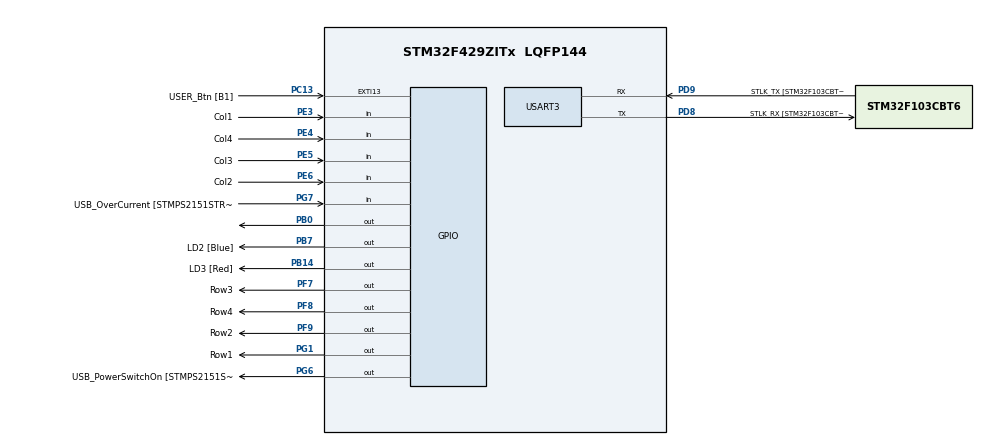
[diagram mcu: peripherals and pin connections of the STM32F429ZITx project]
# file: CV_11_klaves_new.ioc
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Mcu.Family=STM32F4
Mcu.Name=STM32F429ZITx
Mcu.Package=LQFP144
NVIC.PriorityGroup=NVIC_PRIORITYGROUP_4
NVIC.TIM3_IRQn=true\:0\:0\:false\:false\:true\:true\:true\:true
PA1.GPIO_Label=RMII_REF_CLK [LAN8742A-CZ-TR_REFCLK0]
PA1.Signal=ETH_REF_CLK
PA10.GPIO_Label=USB_ID
PA10.Signal=USB_OTG_FS_ID
PA11.GPIO_Label=USB_DM
PA11.Signal=USB_OTG_FS_DM
PA12.GPIO_Label=USB_DP
PA12.Signal=USB_OTG_FS_DP
PA13.GPIO_Label=TMS
PA13.Mode=Serial_Wire
PA13.Signal=SYS_JTMS-SWDIO
PA14.GPIO_Label=TCK
PA14.Mode=Serial_Wire
PA14.Signal=SYS_JTCK-SWCLK
PA2.GPIO_Label=RMII_MDIO [LAN8742A-CZ-TR_MDIO]
PA2.Signal=ETH_MDIO
PA7.GPIO_Label=RMII_CRS_DV [LAN8742A-CZ-TR_CRS_DV]
PA7.Signal=ETH_CRS_DV
PA8.GPIO_Label=USB_SOF [TP1]
PA8.Signal=USB_OTG_FS_SOF
PA9.GPIO_Label=USB_VBUS
PA9.Signal=USB_OTG_FS_VBUS
PB0.Signal=GPIO_Output
PB13.GPIO_Label=RMII_TXD1 [LAN8742A-CZ-TR_TXD1]
PB13.Signal=ETH_TXD1
PB14.GPIO_Label=LD3 [Red]
PB14.Signal=GPIO_Output
PB7.GPIO_Label=LD2 [Blue]
PB7.Signal=GPIO_Output
PC1.GPIO_Label=RMII_MDC [LAN8742A-CZ-TR_MDC]
PC1.Signal=ETH_MDC
PC13.GPIO_Label=USER_Btn [B1]
PC13.Signal=GPXTI13
PC14/OSC32_IN.Mode=LSE-External-Oscillator
PC14/OSC32_IN.Signal=RCC_OSC32_IN
PC15/OSC32_OUT.Mode=LSE-External-Oscillator
PC15/OSC32_OUT.Signal=RCC_OSC32_OUT
PC4.GPIO_Label=RMII_RXD0 [LAN8742A-CZ-TR_RXD0]
PC4.Signal=ETH_RXD0
PC5.GPIO_Label=RMII_RXD1 [LAN8742A-CZ-TR_RXD1]
PC5.Signal=ETH_RXD1
PD8.GPIO_Label=STLK_RX [STM32F103CBT6_PA3]
PD8.Mode=Asynchronous
PD8.Signal=USART3_TX
PD9.GPIO_Label=STLK_TX [STM32F103CBT6_PA2]
PD9.Mode=Asynchronous
PD9.Signal=USART3_RX
PE3.GPIO_Label=Col1
PE3.GPIO_PuPd=GPIO_PULLUP
PE3.Signal=GPIO_Input
PE4.GPIO_Label=Col4
PE4.GPIO_PuPd=GPIO_PULLUP
PE4.Signal=GPIO_Input
PE5.GPIO_Label=Col3
PE5.GPIO_PuPd=GPIO_PULLUP
PE5.Signal=GPIO_Input
PE6.GPIO_Label=Col2
PE6.GPIO_PuPd=GPIO_PULLUP
PE6.Signal=GPIO_Input
PF7.GPIO_Label=Row3
PF7.GPIO_ModeDefaultOutputPP=GPIO_MODE_OUTPUT_OD
PF7.GPIO_PuPd=GPIO_NOPULL
PF7.Signal=GPIO_Output
PF8.GPIO_Label=Row4
PF8.GPIO_ModeDefaultOutputPP=GPIO_MODE_OUTPUT_OD
PF8.GPIO_PuPd=GPIO_NOPULL
PF8.Signal=GPIO_Output
PF9.GPIO_Label=Row2
PF9.GPIO_ModeDefaultOutputPP=GPIO_MODE_OUTPUT_OD
PF9.GPIO_PuPd=GPIO_NOPULL
PF9.Signal=GPIO_Output
PG1.GPIO_Label=Row1
PG1.GPIO_ModeDefaultOutputPP=GPIO_MODE_OUTPUT_OD
PG1.GPIO_PuPd=GPIO_NOPULL
PG1.Signal=GPIO_Output
PG11.GPIO_Label=RMII_TX_EN [LAN8742A-CZ-TR_TXEN]
PG11.Signal=ETH_TX_EN
PG13.GPIO_Label=RMII_TXD0 [LAN8742A-CZ-TR_TXD0]
PG13.Signal=ETH_TXD0
PG6.GPIO_Label=USB_PowerSwitchOn [STMPS2151STR_EN]
PG6.Signal=GPIO_Output
PG7.GPIO_Label=USB_OverCurrent [STMPS2151STR_FAULT]
PG7.Signal=GPIO_Input
PH0/OSC_IN.GPIO_Label=MCO [STM32F103CBT6_PA8]
PH0/OSC_IN.Mode=HSE-External-Clock-Source
PH0/OSC_IN.Signal=RCC_OSC_IN
PH1/OSC_OUT.Mode=HSE-External-Clock-Source
PH1/OSC_OUT.Signal=RCC_OSC_OUT
ProjectManager.HeapSize=0x200
ProjectManager.StackSize=0x400
ProjectManager.TargetToolchain=STM32CubeIDE
RCC.48MHZClocksFreq_Value=48000000
RCC.AHBFreq_Value=168000000
RCC.APB1CLKDivider=RCC_HCLK_DIV4
RCC.APB1Freq_Value=42000000
RCC.APB1TimFreq_Value=84000000
RCC.APB2CLKDivider=RCC_HCLK_DIV2
RCC.APB2Freq_Value=84000000
RCC.APB2TimCLKDivider=2
RCC.APB2TimFreq_Value=168000000
RCC.CortexFreq_Value=168000000
RCC.HCLKFreq_Value=168000000
RCC.HSE_VALUE=8000000
RCC.HSI_VALUE=16000000
RCC.PLLM=4
RCC.PLLMUL=RCC_PLL_MUL9
RCC.PLLN=168
RCC.PLLQ=7
RCC.PLLSourceVirtual=RCC_PLLSOURCE_HSE
RCC.PRESCALERUSB=RCC_USBCLKSOURCE_PLL_DIV1_5
RCC.SYSCLKFreq_VALUE=168000000
RCC.SYSCLKSource=RCC_SYSCLKSOURCE_PLLCLK
RCC.SYSCLKSourceVirtual=RCC_SYSCLKSOURCE_PLLCLK
RCC.USBFreq_Value=48000000
RCC.VCOOutputFreq_Value=336000000
TIM3.Period=99
TIM3.Prescaler=8399
USART3.VirtualMode=VM_ASYNC
VP_TIM3_VS_ClockSourceINT.Mode=Internal
board=NUCLEO-F429ZI

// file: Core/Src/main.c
/* USER CODE BEGIN Header */
/**
 ******************************************************************************
 * @file           : main.c
 * @brief          : Main program body
 ******************************************************************************
 * @attention
 *
 * Copyright (c) 2023 STMicroelectronics.
 * All rights reserved.
 *
 * This software is licensed under terms that can be found in the LICENSE file
 * in the root directory of this software component.
 * If no LICENSE file comes with this software, it is provided AS-IS.
 *
 ******************************************************************************
 */
/* USER CODE END Header */
#include "main.h"

/* USER CODE BEGIN Includes */
#include <stdio.h>
/* USER CODE END Includes */

TIM_HandleTypeDef htim3;

UART_HandleTypeDef huart3;

/* USER CODE BEGIN PV */
static volatile int8_t key = -1;
int8_t password[5] = { 0, 0, 0, 0, 0 };
int8_t code[5] = { 7, 9, 3, 2, 12 };
/* USER CODE END PV */

void SystemClock_Config(void);
static void MX_GPIO_Init(void);
static void MX_USART3_UART_Init(void);
static void MX_TIM3_Init(void);

/* USER CODE BEGIN 0 */
int __io_putchar(int ch) {
	ITM_SendChar(ch);
	return 0;
}
/* USER CODE END 0 */

int main(void) {

	/* MCU Configuration--------------------------------------------------------*/

	/* Reset of all peripherals, Initializes the Flash interface and the Systick. */
	HAL_Init();

	/* Configure the system clock */
	SystemClock_Config();

	/* Initialize all configured peripherals */
	MX_GPIO_Init();
	MX_USART3_UART_Init();
	MX_TIM3_Init();
	/* USER CODE BEGIN 2 */
	HAL_TIM_Base_Start_IT(&htim3);
	/* USER CODE END 2 */

	/* Infinite loop */
	/* USER CODE BEGIN WHILE */
	printf(" Start!\n");
	uint8_t i = 0;
	while (1) {
		//printf(" test!\n");
		//	HAL_GPIO_TogglePin(LD1_GPIO_Port, LD1_Pin);
		//	HAL_Delay(200);
		//printf("Key: %d\n", key);

		if (key != -1) {

			printf("Key: %d\n", key);

			password[i] = key;

			if (i == 4) {
				uint8_t correct = 1;
				for (uint8_t j = 0; j < 5; j++) {
					correct = password[j] == code[j];
				}

				if (correct) {
					printf("Spravne Heslo\n");
					HAL_GPIO_TogglePin(LD3_GPIO_Port, LD3_Pin);
					HAL_Delay(3000);
					HAL_GPIO_TogglePin(LD3_GPIO_Port, LD3_Pin);
				}

				else {
					printf("nepravne Heslo\n");
					for (uint8_t j = 0; j < 5; j++) {
						password[j] = 0;
					}
					correct = 0;
					i = 0;
				}}
				else i++;

				HAL_Delay(300);
				key = -1;
			}
		}

		/* USER CODE END WHILE */

	}

	/**
	 * @brief System Clock Configuration
	 * @retval None
	 */
	void SystemClock_Config(void) {
		RCC_OscInitTypeDef RCC_OscInitStruct = { 0 };
		RCC_ClkInitTypeDef RCC_ClkInitStruct = { 0 };

		/** Configure the main internal regulator output voltage
		 */
		__HAL_RCC_PWR_CLK_ENABLE();
		__HAL_PWR_VOLTAGESCALING_CONFIG(PWR_REGULATOR_VOLTAGE_SCALE1);

		/** Initializes the RCC Oscillators according to the specified parameters
		 * in the RCC_OscInitTypeDef structure.
		 */
		RCC_OscInitStruct.OscillatorType = RCC_OSCILLATORTYPE_HSE;
		RCC_OscInitStruct.HSEState = RCC_HSE_BYPASS;
		RCC_OscInitStruct.PLL.PLLState = RCC_PLL_ON;
		RCC_OscInitStruct.PLL.PLLSource = RCC_PLLSOURCE_HSE;
		RCC_OscInitStruct.PLL.PLLM = 4;
		RCC_OscInitStruct.PLL.PLLN = 168;
		RCC_OscInitStruct.PLL.PLLP = RCC_PLLP_DIV2;
		RCC_OscInitStruct.PLL.PLLQ = 7;
		if (HAL_RCC_OscConfig(&RCC_OscInitStruct) != HAL_OK) {
			Error_Handler();
		}

		/** Initializes the CPU, AHB and APB buses clocks
		 */
		RCC_ClkInitStruct.ClockType = RCC_CLOCKTYPE_HCLK | RCC_CLOCKTYPE_SYSCLK
				| RCC_CLOCKTYPE_PCLK1 | RCC_CLOCKTYPE_PCLK2;
		RCC_ClkInitStruct.SYSCLKSource = RCC_SYSCLKSOURCE_PLLCLK;
		RCC_ClkInitStruct.AHBCLKDivider = RCC_SYSCLK_DIV1;
		RCC_ClkInitStruct.APB1CLKDivider = RCC_HCLK_DIV4;
		RCC_ClkInitStruct.APB2CLKDivider = RCC_HCLK_DIV2;

		if (HAL_RCC_ClockConfig(&RCC_ClkInitStruct, FLASH_LATENCY_5)
				!= HAL_OK) {
			Error_Handler();
		}
	}

	/**
	 * @brief TIM3 Initialization Function
	 * @param None
	 * @retval None
	 */
	static void MX_TIM3_Init(void) {

		TIM_ClockConfigTypeDef sClockSourceConfig = { 0 };
		TIM_MasterConfigTypeDef sMasterConfig = { 0 };

		htim3.Instance = TIM3;
		htim3.Init.Prescaler = 8399;
		htim3.Init.CounterMode = TIM_COUNTERMODE_UP;
		htim3.Init.Period = 99;
		htim3.Init.ClockDivision = TIM_CLOCKDIVISION_DIV1;
		htim3.Init.AutoReloadPreload = TIM_AUTORELOAD_PRELOAD_DISABLE;
		if (HAL_TIM_Base_Init(&htim3) != HAL_OK) {
			Error_Handler();
		}
		sClockSourceConfig.ClockSource = TIM_CLOCKSOURCE_INTERNAL;
		if (HAL_TIM_ConfigClockSource(&htim3, &sClockSourceConfig) != HAL_OK) {
			Error_Handler();
		}
		sMasterConfig.MasterOutputTrigger = TIM_TRGO_RESET;
		sMasterConfig.MasterSlaveMode = TIM_MASTERSLAVEMODE_DISABLE;
		if (HAL_TIMEx_MasterConfigSynchronization(&htim3, &sMasterConfig)
				!= HAL_OK) {
			Error_Handler();
		}

	}

	/**
	 * @brief USART3 Initialization Function
	 * @param None
	 * @retval None
	 */
	static void MX_USART3_UART_Init(void) {

		huart3.Instance = USART3;
		huart3.Init.BaudRate = 115200;
		huart3.Init.WordLength = UART_WORDLENGTH_8B;
		huart3.Init.StopBits = UART_STOPBITS_1;
		huart3.Init.Parity = UART_PARITY_NONE;
		huart3.Init.Mode = UART_MODE_TX_RX;
		huart3.Init.HwFlowCtl = UART_HWCONTROL_NONE;
		huart3.Init.OverSampling = UART_OVERSAMPLING_16;
		if (HAL_UART_Init(&huart3) != HAL_OK) {
			Error_Handler();
		}

	}

	/**
	 * @brief GPIO Initialization Function
	 * @param None
	 * @retval None
	 */
	static void MX_GPIO_Init(void) {
		GPIO_InitTypeDef GPIO_InitStruct = { 0 };

		/* GPIO Ports Clock Enable */
		__HAL_RCC_GPIOE_CLK_ENABLE();
		__HAL_RCC_GPIOC_CLK_ENABLE();
		__HAL_RCC_GPIOF_CLK_ENABLE();
		__HAL_RCC_GPIOH_CLK_ENABLE();
		__HAL_RCC_GPIOA_CLK_ENABLE();
		__HAL_RCC_GPIOB_CLK_ENABLE();
		__HAL_RCC_GPIOG_CLK_ENABLE();
		__HAL_RCC_GPIOD_CLK_ENABLE();

		/*Configure GPIO pin Output Level */
		HAL_GPIO_WritePin(GPIOF, Row3_Pin | Row4_Pin | Row2_Pin,
				GPIO_PIN_RESET);

		/*Configure GPIO pin Output Level */
		HAL_GPIO_WritePin(GPIOB, GPIO_PIN_0 | LD3_Pin | LD2_Pin,
				GPIO_PIN_RESET);

		/*Configure GPIO pin Output Level */
		HAL_GPIO_WritePin(GPIOG, Row1_Pin | USB_PowerSwitchOn_Pin,
				GPIO_PIN_RESET);

		/*Configure GPIO pins : Col1_Pin Col4_Pin Col3_Pin Col2_Pin */
		GPIO_InitStruct.Pin = Col1_Pin | Col4_Pin | Col3_Pin | Col2_Pin;
		GPIO_InitStruct.Mode = GPIO_MODE_INPUT;
		GPIO_InitStruct.Pull = GPIO_PULLUP;
		HAL_GPIO_Init(GPIOE, &GPIO_InitStruct);

		/*Configure GPIO pin : USER_Btn_Pin */
		GPIO_InitStruct.Pin = USER_Btn_Pin;
		GPIO_InitStruct.Mode = GPIO_MODE_IT_RISING;
		GPIO_InitStruct.Pull = GPIO_NOPULL;
		HAL_GPIO_Init(USER_Btn_GPIO_Port, &GPIO_InitStruct);

		/*Configure GPIO pins : Row3_Pin Row4_Pin Row2_Pin */
		GPIO_InitStruct.Pin = Row3_Pin | Row4_Pin | Row2_Pin;
		GPIO_InitStruct.Mode = GPIO_MODE_OUTPUT_OD;
		GPIO_InitStruct.Pull = GPIO_NOPULL;
		GPIO_InitStruct.Speed = GPIO_SPEED_FREQ_LOW;
		HAL_GPIO_Init(GPIOF, &GPIO_InitStruct);

		/*Configure GPIO pins : RMII_MDC_Pin RMII_RXD0_Pin RMII_RXD1_Pin */
		GPIO_InitStruct.Pin = RMII_MDC_Pin | RMII_RXD0_Pin | RMII_RXD1_Pin;
		GPIO_InitStruct.Mode = GPIO_MODE_AF_PP;
		GPIO_InitStruct.Pull = GPIO_NOPULL;
		GPIO_InitStruct.Speed = GPIO_SPEED_FREQ_VERY_HIGH;
		GPIO_InitStruct.Alternate = GPIO_AF11_ETH;
		HAL_GPIO_Init(GPIOC, &GPIO_InitStruct);

		/*Configure GPIO pins : RMII_REF_CLK_Pin RMII_MDIO_Pin RMII_CRS_DV_Pin */
		GPIO_InitStruct.Pin =
				RMII_REF_CLK_Pin | RMII_MDIO_Pin | RMII_CRS_DV_Pin;
		GPIO_InitStruct.Mode = GPIO_MODE_AF_PP;
		GPIO_InitStruct.Pull = GPIO_NOPULL;
		GPIO_InitStruct.Speed = GPIO_SPEED_FREQ_VERY_HIGH;
		GPIO_InitStruct.Alternate = GPIO_AF11_ETH;
		HAL_GPIO_Init(GPIOA, &GPIO_InitStruct);

		/*Configure GPIO pins : PB0 LD3_Pin LD2_Pin */
		GPIO_InitStruct.Pin = GPIO_PIN_0 | LD3_Pin | LD2_Pin;
		GPIO_InitStruct.Mode = GPIO_MODE_OUTPUT_PP;
		GPIO_InitStruct.Pull = GPIO_NOPULL;
		GPIO_InitStruct.Speed = GPIO_SPEED_FREQ_LOW;
		HAL_GPIO_Init(GPIOB, &GPIO_InitStruct);

		/*Configure GPIO pin : Row1_Pin */
		GPIO_InitStruct.Pin = Row1_Pin;
		GPIO_InitStruct.Mode = GPIO_MODE_OUTPUT_OD;
		GPIO_InitStruct.Pull = GPIO_NOPULL;
		GPIO_InitStruct.Speed = GPIO_SPEED_FREQ_LOW;
		HAL_GPIO_Init(Row1_GPIO_Port, &GPIO_InitStruct);

		/*Configure GPIO pin : RMII_TXD1_Pin */
		GPIO_InitStruct.Pin = RMII_TXD1_Pin;
		GPIO_InitStruct.Mode = GPIO_MODE_AF_PP;
		GPIO_InitStruct.Pull = GPIO_NOPULL;
		GPIO_InitStruct.Speed = GPIO_SPEED_FREQ_VERY_HIGH;
		GPIO_InitStruct.Alternate = GPIO_AF11_ETH;
		HAL_GPIO_Init(RMII_TXD1_GPIO_Port, &GPIO_InitStruct);

		/*Configure GPIO pin : USB_PowerSwitchOn_Pin */
		GPIO_InitStruct.Pin = USB_PowerSwitchOn_Pin;
		GPIO_InitStruct.Mode = GPIO_MODE_OUTPUT_PP;
		GPIO_InitStruct.Pull = GPIO_NOPULL;
		GPIO_InitStruct.Speed = GPIO_SPEED_FREQ_LOW;
		HAL_GPIO_Init(USB_PowerSwitchOn_GPIO_Port, &GPIO_InitStruct);

		/*Configure GPIO pin : USB_OverCurrent_Pin */
		GPIO_InitStruct.Pin = USB_OverCurrent_Pin;
		GPIO_InitStruct.Mode = GPIO_MODE_INPUT;
		GPIO_InitStruct.Pull = GPIO_NOPULL;
		HAL_GPIO_Init(USB_OverCurrent_GPIO_Port, &GPIO_InitStruct);

		/*Configure GPIO pins : USB_SOF_Pin USB_ID_Pin USB_DM_Pin USB_DP_Pin */
		GPIO_InitStruct.Pin =
				USB_SOF_Pin | USB_ID_Pin | USB_DM_Pin | USB_DP_Pin;
		GPIO_InitStruct.Mode = GPIO_MODE_AF_PP;
		GPIO_InitStruct.Pull = GPIO_NOPULL;
		GPIO_InitStruct.Speed = GPIO_SPEED_FREQ_VERY_HIGH;
		GPIO_InitStruct.Alternate = GPIO_AF10_OTG_FS;
		HAL_GPIO_Init(GPIOA, &GPIO_InitStruct);

		/*Configure GPIO pin : USB_VBUS_Pin */
		GPIO_InitStruct.Pin = USB_VBUS_Pin;
		GPIO_InitStruct.Mode = GPIO_MODE_INPUT;
		GPIO_InitStruct.Pull = GPIO_NOPULL;
		HAL_GPIO_Init(USB_VBUS_GPIO_Port, &GPIO_InitStruct);

		/*Configure GPIO pins : RMII_TX_EN_Pin RMII_TXD0_Pin */
		GPIO_InitStruct.Pin = RMII_TX_EN_Pin | RMII_TXD0_Pin;
		GPIO_InitStruct.Mode = GPIO_MODE_AF_PP;
		GPIO_InitStruct.Pull = GPIO_NOPULL;
		GPIO_InitStruct.Speed = GPIO_SPEED_FREQ_VERY_HIGH;
		GPIO_InitStruct.Alternate = GPIO_AF11_ETH;
		HAL_GPIO_Init(GPIOG, &GPIO_InitStruct);

	}

	/* USER CODE BEGIN 4 */

	void HAL_TIM_PeriodElapsedCallback(TIM_HandleTypeDef *htim) {
		static int row = 0;
		static const int keyboard[4][4] = { { 1, 2, 3, 21 }, { 4, 5, 6, 22 }, {
				7, 8, 9, 23 }, { 11, 0, 12, 24 }, };
		if (key == -1) {
			if (HAL_GPIO_ReadPin(Col1_GPIO_Port, Col1_Pin) == GPIO_PIN_RESET)
				key = keyboard[row][0];
			if (HAL_GPIO_ReadPin(Col2_GPIO_Port, Col2_Pin) == GPIO_PIN_RESET)
				key = keyboard[row][1];
			if (HAL_GPIO_ReadPin(Col3_GPIO_Port, Col3_Pin) == GPIO_PIN_RESET)
				key = keyboard[row][2];
			if (HAL_GPIO_ReadPin(Col4_GPIO_Port, Col4_Pin) == GPIO_PIN_RESET)
				key = keyboard[row][3];

		}
		HAL_GPIO_WritePin(Row1_GPIO_Port, Row1_Pin, GPIO_PIN_SET);
		HAL_GPIO_WritePin(Row2_GPIO_Port, Row2_Pin, GPIO_PIN_SET);
		HAL_GPIO_WritePin(Row3_GPIO_Port, Row3_Pin, GPIO_PIN_SET);
		HAL_GPIO_WritePin(Row4_GPIO_Port, Row4_Pin, GPIO_PIN_SET);
		switch (row) {
		case 0:
			row = 1;
			HAL_GPIO_WritePin(Row2_GPIO_Port, Row2_Pin, GPIO_PIN_RESET);
			break;
		case 1:
			row = 2;
			HAL_GPIO_WritePin(Row3_GPIO_Port, Row3_Pin, GPIO_PIN_RESET);
			break;
		case 2:
			row = 3;
			HAL_GPIO_WritePin(Row4_GPIO_Port, Row4_Pin, GPIO_PIN_RESET);
			break;
		case 3:
			row = 0;
			HAL_GPIO_WritePin(Row1_GPIO_Port, Row1_Pin, GPIO_PIN_RESET);
			break;
		}
	}

	/* USER CODE END 4 */

	/**
	 * @brief  This function is executed in case of error occurrence.
	 * @retval None
	 */
	void Error_Handler(void) {
		__disable_irq();
		while (1) {
		}
	}
